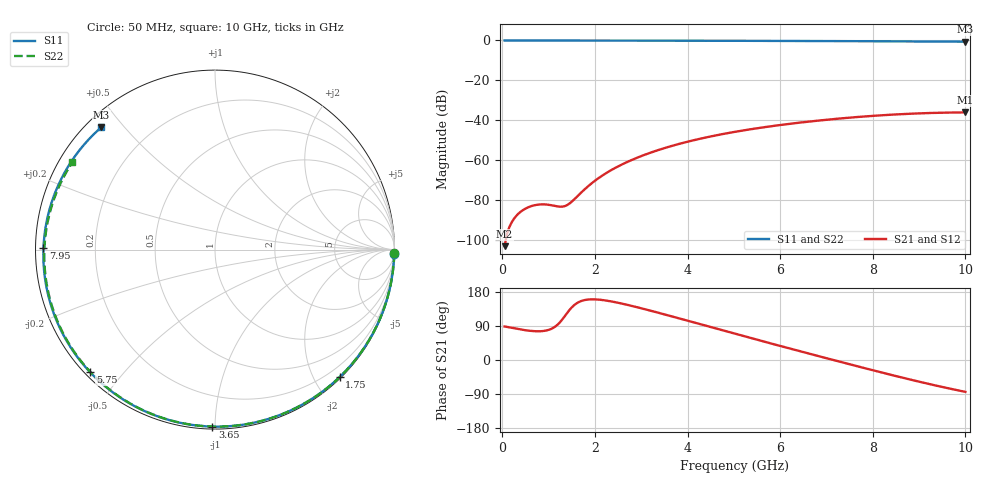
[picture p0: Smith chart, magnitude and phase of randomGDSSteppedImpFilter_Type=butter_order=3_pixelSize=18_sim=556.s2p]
! freq	dB(S11)	phase(S11)	dB(S12)	phase(S12)
!  dB(S21)	phase(S21)	dB(S22)	phase(S22)
!S-par simulation data
#  GHz  S  DB  R 50
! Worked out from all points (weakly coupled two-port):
!   200 points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, 50 MHz to 10 GHz, reference 50 ohm
!   highest |S21| = -36.12 dB at 10 GHz (marker M1); lowest = -103.3 dB at 50 MHz (marker M2)
!   lowest |S11| = -0.6 dB at 10 GHz (marker M3), VSWR 27.72, Z = 2.15 + j21.8 ohm
!   |S11| at or under -10 dB: nowhere
!   |S22| runs from -0.6 to 0.0 dB; largest |S21 - S12| = 0
!   S11 on the Smith chart (normalised r, x): 50 MHz: 2, -83; 1.75 GHz: 0.02, -2.37; 3.65 GHz: 0.01, -0.98; 5.75 GHz: 0.01, -0.41; 7.95 GHz: 0.02, +0.00; 10 GHz: 0.04, +0.44
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0.05  -0.01 -1.4  -103.27 88.5  -103.27 88.5  -0.00 -1.2
0.4  -0.02 -10.7  -85.94 80.5  -85.94 80.5  -0.02 -9.8
0.75  -0.03 -19.9  -82.50 75.8  -82.50 75.8  -0.02 -18.4
1.15  -0.04 -30.3  -83.13 88.8  -83.13 88.8  -0.04 -28.1
1.55  -0.05 -40.6  -79.86 144.6  -79.86 144.6  -0.05 -37.6
1.75  -0.06 -45.7  -75.34 157.3  -75.34 157.3  -0.05 -42.3
2.05  -0.07 -53.2  -69.59 159.7  -69.59 159.7  -0.06 -49.3
2.45  -0.08 -63.0  -63.84 152.3  -63.84 152.3  -0.07 -58.4
2.9  -0.09 -73.7  -58.97 139.6  -58.97 139.6  -0.09 -68.5
3.4  -0.11 -85.2  -54.78 123.7  -54.78 123.7  -0.10 -79.3
3.65  -0.12 -90.9  -53.02 115.5  -53.02 115.5  -0.11 -84.6
4.35  -0.15 -106.3  -48.94 92.0  -48.94 92.0  -0.14 -99.1
5.05  -0.18 -121.1  -45.77 68.5  -45.77 68.5  -0.17 -113.2
5.75  -0.22 -135.5  -43.25 45.3  -43.25 45.3  -0.21 -126.8
6.25  -0.25 -145.7  -41.74 29.0  -41.74 29.0  -0.24 -136.4
6.7  -0.29 -154.8  -40.54 14.4  -40.54 14.4  -0.27 -144.9
7.35  -0.34 -168.1  -39.06 -6.5  -39.06 -6.5  -0.33 -157.3
7.95  -0.39 179.4  -37.94 -25.4  -37.94 -25.4  -0.38 -168.9
8.35  -0.43 170.9  -37.33 -37.8  -37.33 -37.8  -0.42 -176.8
8.8  -0.48 161.0  -36.80 -51.4  -36.80 -51.4  -0.47 174.2
9.2  -0.53 152.0  -36.45 -62.9  -36.45 -62.9  -0.52 165.9
10  -0.63 132.8  -36.12 -84.1  -36.12 -84.1  -0.62 148.5
